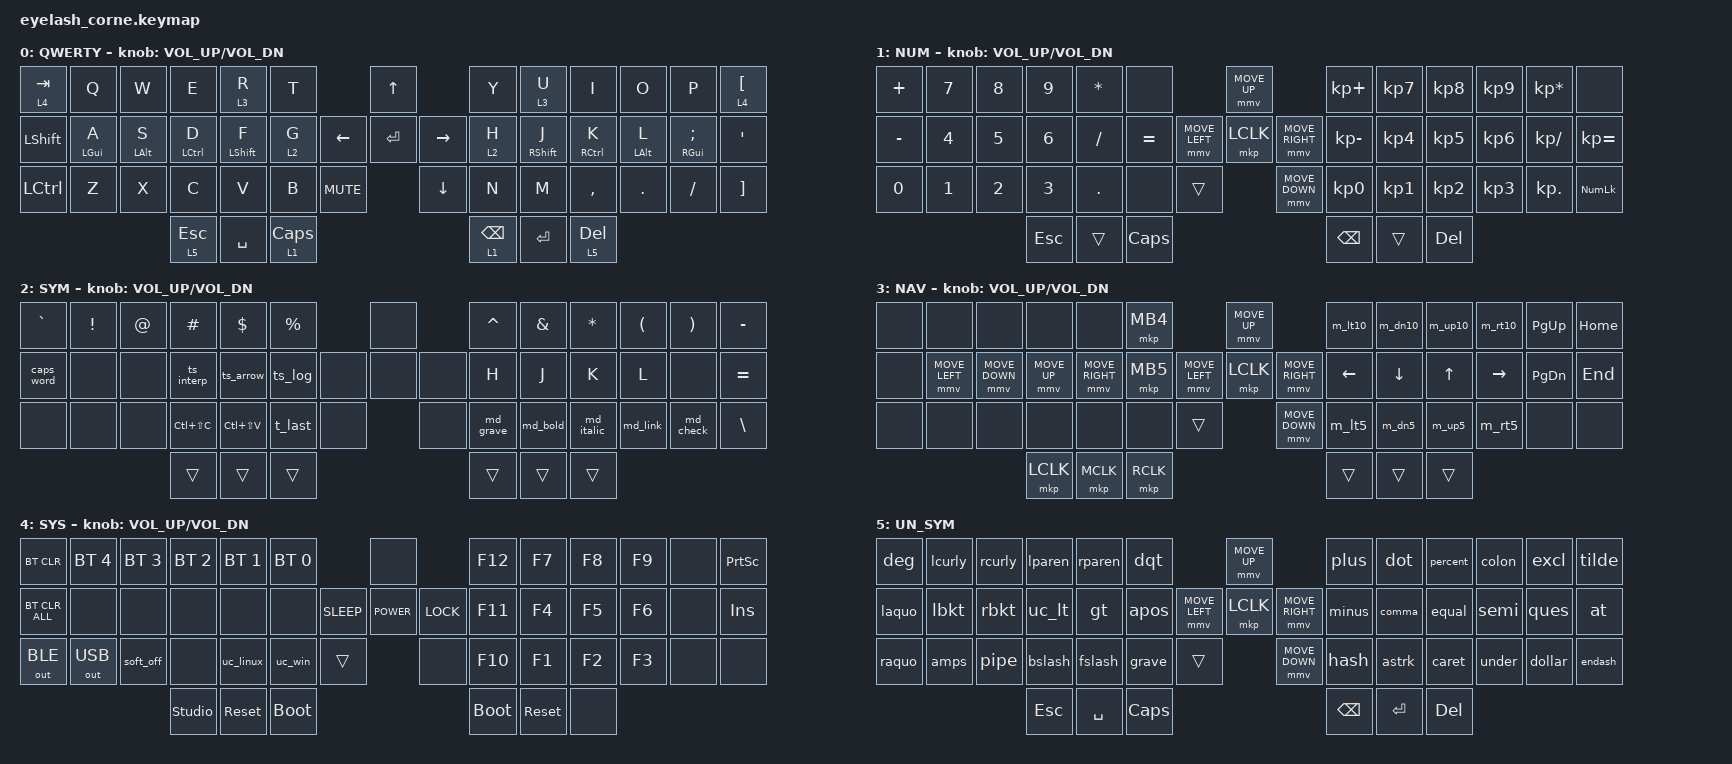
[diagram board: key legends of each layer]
#define ZMK_POINTING_DEFAULT_MOVE_VAL 600  // 600
#define ZMK_POINTING_DEFAULT_SCRL_VAL 10   // 10

#include <input/processors.dtsi>
#include <zephyr/dt-bindings/input/input-event-codes.h>
#include <behaviors.dtsi>
#include <dt-bindings/zmk/bt.h>
#include <dt-bindings/zmk/keys.h>
#include <dt-bindings/zmk/outputs.h>
#include <dt-bindings/zmk/pointing.h>

#include <behaviors/unicode.dtsi>

#include "unicode-macros.dtsi"
#include "nur-macros.dtsi"
#include "move-macros.dtsi"

#include "key-labels-42.dtsi"
#include "hmr.dtsi"

&uc {
  default-mode = <UC_MODE_LINUX>;  // Default to Linux input system
  minimum-length = <0>;            // Set to desired minimum input length
  linux-key = <LC(LS(U))>;         // Overwrite Linux compose key
};

&mt {
  quick-tap-ms = <200>;
};

&mmv_input_listener { input-processors = <&zip_xy_scaler 2 1>; };

&msc_input_listener { input-processors = <&zip_scroll_scaler 2 1>; };

&msc {
  time-to-max-speed-ms = <100>;       // 300
  acceleration-exponent = <1>;      // 0
  delay-ms = <0>;                   // 0
};

&mmv {
  time-to-max-speed-ms = <800>;
  acceleration-exponent = <1>;
  trigger-period-ms = <16>;
};

&soft_off { hold-time-ms = <2000>; };

/ {
  macros {
    uc_win: uc_win { // тройная обр. кавычка
      compatible = "zmk,behavior-macro";
      label = "UC_WINDOWS";
      #binding-cells = <0>;
      bindings = <&uc UC_SET_WIN_COMPOSE>;
    };

    uc_linux: uc_linux { // тройная обр. кавычка
      compatible = "zmk,behavior-macro";
      label = "UC_LINUX";
      #binding-cells = <0>;
      bindings = <&uc UC_SET_LINUX>;
    };
  };

  keymap {
    compatible = "zmk,keymap";

    // LAYER 0: QWERTY
    default_layer {
      display-name = "QWERTY";
      bindings = <
&ltl 4 TAB &kp Q        &kp W        &kp E         &ltl 3 R      &kp T                               &kp UP                 &kp Y        &ltr 3 U       &kp I         &kp O        &kp P           &ltr 4 LBKT
&kp LSHFT  &hml LGUI A  &hml LALT S  &hml LCTRL D  &hml LSHFT F  &ltl 2 G                   &kp LEFT  &kp ENTER  &kp RIGHT  &ltr 2 H     &hmr RSHFT J   &hmr RCTRL K  &hmr LALT L  &hmr RGUI SEMI  &kp SQT
&kp LCTRL  &kp Z        &kp X        &kp C         &kp V         &kp B       &kp C_MUTE              &kp DOWN               &kp N        &kp M          &kp COMMA     &kp DOT      &kp FSLH        &kp RBKT
                                     &lt 5 ESC     &kp SPACE     &lt 1 CAPS                                                 &lt 1 BSPC   &kp ENTER      &lt 5 DELETE
      >;

      sensor-bindings = <&inc_dec_kp C_VOL_UP C_VOL_DN>;
    };

    // LAYER 1: NUM (Числа и Математика)
    num_layer {
      display-name = "NUM";
      bindings = <
&kp PLUS   &kp N7  &kp N8  &kp N9    &kp ASTRK  &none                        &mmv MOVE_UP                     &kp KP_PLUS    &kp KP_N7  &kp KP_N8  &kp KP_N9  &kp KP_ASTERISK  &none
&kp MINUS  &kp N4  &kp N5  &kp N6    &kp SLASH  &kp EQUAL    &mmv MOVE_LEFT  &mkp LCLK       &mmv MOVE_RIGHT  &kp KP_MINUS   &kp KP_N4  &kp KP_N5  &kp KP_N6  &kp KP_DIVIDE    &kp KP_EQUAL
&kp N0     &kp N1  &kp N2  &kp N3    &kp DOT    &none      &trans            &mmv MOVE_DOWN                   &kp KP_N0      &kp KP_N1  &kp KP_N2  &kp KP_N3  &kp KP_DOT       &kp KP_NUMLOCK
                           &kp ESC   &trans     &kp CAPS                                                              &kp BACKSPACE  &trans     &kp DELETE
      >;

      sensor-bindings = <&inc_dec_kp C_VOL_UP C_VOL_DN>;
    };

    // LAYER 2: SYM (Символы занятые по модификаторам)
    sym_layer {
      display-name = "SYM";
      bindings = <
&kp GRAVE    &kp EXCL   &kp AT    &kp HASH     &kp DLLR     &kp PRCNT              &none           &kp CARET    &kp AMPS    &kp ASTRK    &kp LPAR    &kp RPAR   &kp MINUS
&caps_word   &none      &none     &ts_interp   &ts_arrow    &ts_log         &none  &none  &none    &kp H        &kp J       &kp K        &kp L       &none      &kp EQUAL
&none        &none      &none     &kp LC(LS(C))   &kp LC(LS(V))   &t_last     &none      &none           &md_grave    &md_bold    &md_italic   &md_link    &md_check  &kp BSLH
                                  &trans       &trans       &trans                                 &trans       &trans      &trans
      >;
      sensor-bindings = <&inc_dec_kp C_VOL_UP C_VOL_DN>;
    };

    // LAYER 3: NAV (Мышь слева / Курсор справа + x5_10 макросы)
    nav_layer {
      display-name = "NAV";
      bindings = <
&none  &none           &none           &none         &none            &mkp MB4                             &mmv MOVE_UP                     &m_lt10         &m_dn10         &m_up10       &m_rt10     &kp PG_UP      &kp HOME
&none  &mmv MOVE_LEFT  &mmv MOVE_DOWN  &mmv MOVE_UP  &mmv MOVE_RIGHT  &mkp MB5             &mmv MOVE_LEFT  &mkp LCLK       &mmv MOVE_RIGHT  &kp LEFT_ARROW  &kp DOWN_ARROW  &kp UP_ARROW  &kp RIGHT  &kp PAGE_DOWN  &kp END
&none  &none           &none           &none         &none            &none      &trans                    &mmv MOVE_DOWN                   &m_lt5          &m_dn5          &m_up5        &m_rt5     &none          &none
                                       &mkp LCLK     &mkp MCLK        &mkp RCLK                                                             &trans          &trans          &trans
      >;

      sensor-bindings = <&inc_dec_kp C_VOL_UP C_VOL_DN>;
    };

    // LAYER 4: SYS (F-клавиши по сетке NUM)
    sys_layer {
      display-name = "SYS";
      bindings = <
&bt BT_CLR      &bt BT_SEL 4  &bt BT_SEL 3  &bt BT_SEL 2    &bt BT_SEL 1  &bt BT_SEL 0                         &none                    &kp F12      &kp F7      &kp F8  &kp F9  &none  &kp PRINTSCREEN
&bt BT_CLR_ALL  &none         &none         &none           &none         &none                   &kp K_SLEEP  &kp K_POWER  &kp K_LOCK  &kp F11      &kp F4      &kp F5  &kp F6  &none  &kp INS
&out OUT_BLE    &out OUT_USB  &soft_off     &none           &uc_linux     &uc_win        &trans   &none                    &kp F10      &kp F1      &kp F2  &kp F3  &none  &none
                                            &studio_unlock  &sys_reset    &bootloader                                                   &bootloader  &sys_reset  &none
      >;

      sensor-bindings = <&inc_dec_kp C_VOL_UP C_VOL_DN>;
    };

    // LAYER 5: UN_SYM (символы через unicode последовательности)
    un_sym_layer {
      display-name = "UN_SYM";
      bindings = <
&deg     &lcurly   &rcurly   &lparen   &rparen    &dqt                                      &mmv MOVE_UP                    &plus     &dot       &percent  &colon   &excl    &tilde
&laquo   &lbkt     &rbkt     &uc_lt    &gt        &apos                  &mmv MOVE_LEFT  &mkp LCLK       &mmv MOVE_RIGHT    &minus    &comma     &equal    &semi    &ques    &at
&raquo   &amps     &pipe     &bslash   &fslash    &grave         &trans                    &mmv MOVE_DOWN                   &hash     &astrk     &caret    &under   &dollar  &endash
                             &kp ESC   &kp SPACE  &kp CAPS                                                                  &kp BSPC  &kp ENTER  &kp DELETE
      >;
    };
  };
};
